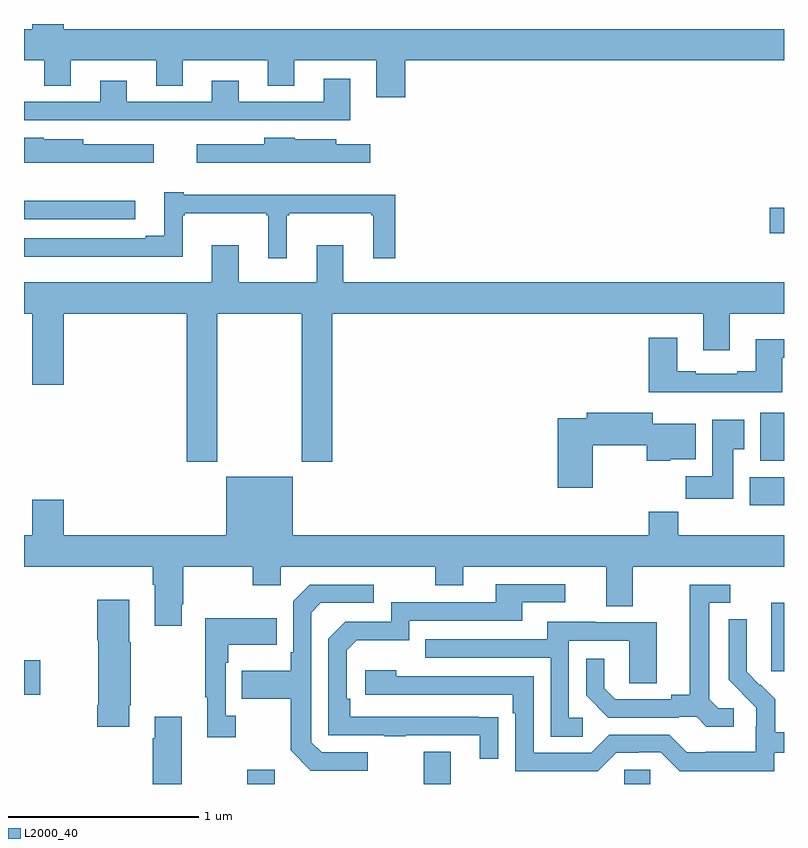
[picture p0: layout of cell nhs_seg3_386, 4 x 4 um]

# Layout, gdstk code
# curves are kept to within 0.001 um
import gdstk
lib = gdstk.Library(unit=1e-6, precision=1e-09)
def R(c, l, rs):  # rectangles x0, y0, x1, y1
    for r in rs: c.add(gdstk.rectangle(r[:2], r[2:], *l))
def P(c, l, *ps):  # polygons
    for p in ps: c.add(gdstk.Polygon(p, *l))
L2000_40 = (2000, 40)

nhs_seg3_386 = lib.new_cell('nhs_seg3_386')
R(nhs_seg3_386, L2000_40, [(130.174,738.4,130.321,738.475), (131.105,738.4,131.245,738.571), (132.159,738.4,132.297,738.474), (129,738.869,129.085,739.052), (132.932,738.993,133,739.354), (132.821,739.868,133,740.014), (132.875,740.102,133,740.353), (132.924,741.299,133,741.434), (129,741.372,129.586,741.47)])
P(nhs_seg3_386, L2000_40, [(131.006,742.208),(133,742.208),(133,742.372),(129.208,742.372),(129.208,742.4),(129.044,742.4),(129.044,742.372),(129,742.372),(129,742.208),(129.107,742.208),(129.107,742.075),(129.247,742.075),(129.247,742.208),(129.695,742.208),(129.695,742.075),(129.835,742.075),(129.835,742.208),(130.283,742.208),(130.283,742.075),(130.423,742.075),(130.423,742.208),(130.853,742.208),(130.853,742.014),(131.006,742.014)],
  [(130.717,742.111),(130.577,742.111),(130.577,741.99),(130.129,741.99),(130.129,742.102),(129.989,742.102),(129.989,741.99),(129.541,741.99),(129.541,742.102),(129.401,742.102),(129.401,741.99),(129,741.99),(129,741.894),(130.717,741.894)],
  [(129.682,741.768),(129.312,741.768),(129.312,741.793),(129.105,741.793),(129.105,741.802),(129,741.802),(129,741.671),(129.682,741.671)],
  [(130.822,741.768),(130.644,741.768),(130.644,741.793),(130.425,741.793),(130.425,741.802),(130.265,741.802),(130.265,741.768),(129.909,741.768),(129.909,741.671),(130.822,741.671)],
  [(130.384,741.393),(130.396,741.393),(130.396,741.404),(130.827,741.404),(130.827,741.393),(130.838,741.393),(130.838,741.168),(130.955,741.168),(130.955,741.502),(129.841,741.502),(129.841,741.514),(129.737,741.514),(129.737,741.286),(129.641,741.286),(129.641,741.273),(129,741.273),(129,741.176),(129.835,741.176),(129.835,741.393),(129.847,741.393),(129.847,741.404),(130.275,741.404),(130.275,741.393),(130.286,741.393),(130.286,741.168),(130.384,741.168)],
  [(130.017,740.876),(130.462,740.876),(130.462,740.097),(130.622,740.097),(130.622,740.876),(132.575,740.876),(132.575,740.682),(132.715,740.682),(132.715,740.876),(133,740.876),(133,741.04),(130.681,741.04),(130.681,741.235),(130.541,741.235),(130.541,741.04),(130.129,741.04),(130.129,741.235),(129.989,741.235),(129.989,741.04),(129,741.04),(129,740.876),(129.044,740.876),(129.044,740.502),(129.208,740.502),(129.208,740.876),(129.857,740.876),(129.857,740.097),(130.017,740.097)],
  [(132.991,740.643),(133,740.643),(133,740.74),(132.851,740.74),(132.851,740.572),(132.755,740.572),(132.755,740.559),(132.535,740.559),(132.535,740.572),(132.439,740.572),(132.439,740.749),(132.287,740.749),(132.287,740.462),(132.991,740.462)],
  [(131.993,740.182),(132.277,740.182),(132.277,740.102),(132.402,740.102),(132.402,740.108),(132.535,740.108),(132.535,740.296),(132.31,740.296),(132.31,740.354),(131.963,740.354),(131.963,740.324),(131.81,740.324),(131.81,739.959),(131.993,739.959)],
  [(132.733,740.161),(132.79,740.161),(132.79,740.317),(132.623,740.317),(132.623,740.02),(132.484,740.02),(132.484,739.902),(132.733,739.902)],
  [(129.829,739.345),(129.837,739.345),(129.837,739.544),(130.204,739.544),(130.204,739.445),(130.35,739.445),(130.35,739.544),(131.164,739.544),(131.164,739.445),(131.311,739.445),(131.311,739.544),(132.065,739.544),(132.065,739.336),(132.205,739.336),(132.205,739.544),(133,739.544),(133,739.708),(132.443,739.708),(132.443,739.832),(132.287,739.832),(132.287,739.708),(130.414,739.708),(130.414,740.017),(130.064,740.017),(130.064,739.708),(129.208,739.708),(129.208,739.897),(129.044,739.897),(129.044,739.708),(129,739.708),(129,739.544),(129.677,739.544),(129.677,739.448),(129.689,739.448),(129.689,739.233),(129.829,739.233)],
  [(131.495,738.752),(130.718,738.753),(130.718,738.85),(130.698,738.85),(130.698,739.104),(130.751,739.157),(131.028,739.157),(131.028,739.26),(131.623,739.26),(131.623,739.356),(131.848,739.356),(131.848,739.452),(131.483,739.452),(131.483,739.356),(130.932,739.356),(130.932,739.254),(130.692,739.254),(130.602,739.164),(130.602,738.657),(130.897,738.657),(130.897,738.652),(131.009,738.652),(131.009,738.657),(131.399,738.657),(131.399,738.534),(131.495,738.534)],
  [(130.81,738.567),(130.566,738.567),(130.512,738.621),(130.512,739.302),(130.563,739.353),(130.84,739.353),(130.84,739.449),(130.503,739.449),(130.416,739.362),(130.416,739.093),(130.404,739.093),(130.404,738.997),(130.147,738.997),(130.147,738.85),(130.404,738.85),(130.404,738.577),(130.509,738.471),(130.81,738.471)],
  [(132.736,738.798),(132.654,738.798),(132.607,738.845),(132.607,739.353),(132.718,739.353),(132.718,739.449),(132.503,739.449),(132.503,738.869),(132.407,738.869),(132.407,738.846),(132.112,738.846),(132.055,738.903),(132.055,739.06),(131.958,739.06),(131.958,738.866),(132.074,738.75),(132.446,738.75),(132.446,738.753),(132.54,738.753),(132.592,738.701),(132.736,738.701)],
  [(129.553,738.814),(129.561,738.814),(129.561,739.145),(129.553,739.145),(129.553,739.369),(129.386,739.369),(129.386,739.156),(129.391,739.156),(129.391,738.814),(129.386,738.814),(129.386,738.702),(129.553,738.702)],
  [(130.114,738.758),(130.062,738.758),(130.062,739.037),(130.075,739.037),(130.075,739.133),(130.331,739.133),(130.331,739.273),(129.954,739.273),(129.954,738.857),(129.965,738.857),(129.965,738.645),(130.114,738.645)],
  [(132.948,738.564),(133,738.564),(133,738.673),(132.953,738.673),(132.953,738.847),(132.876,738.924),(132.873,738.921),(132.803,738.992),(132.804,739.268),(132.708,739.268),(132.708,738.95),(132.854,738.802),(132.854,738.705),(132.852,738.705),(132.852,738.571),(132.589,738.571),(132.589,738.567),(132.489,738.567),(132.396,738.66),(132.081,738.66),(131.985,738.564),(131.682,738.564),(131.682,738.966),(130.958,738.966),(130.958,739),(130.797,739),(130.797,738.87),(131.573,738.87),(131.573,738.773),(131.586,738.773),(131.586,738.468),(132.021,738.468),(132.117,738.564),(132.236,738.564),(132.236,738.567),(132.351,738.567),(132.451,738.467),(132.948,738.467)],
  [(131.941,738.75),(131.868,738.75),(131.868,739.155),(132.186,739.155),(132.186,738.931),(132.331,738.931),(132.331,739.251),(132.007,739.251),(132.007,739.255),(131.753,739.255),(131.753,739.161),(131.113,739.161),(131.113,739.065),(131.772,739.065),(131.772,738.649),(131.941,738.649)],
  [(129.829,738.754),(129.689,738.754),(129.689,738.641),(129.677,738.641),(129.677,738.4),(129.829,738.4)])

lib.write_gds('nhs_seg3_386.gds')
